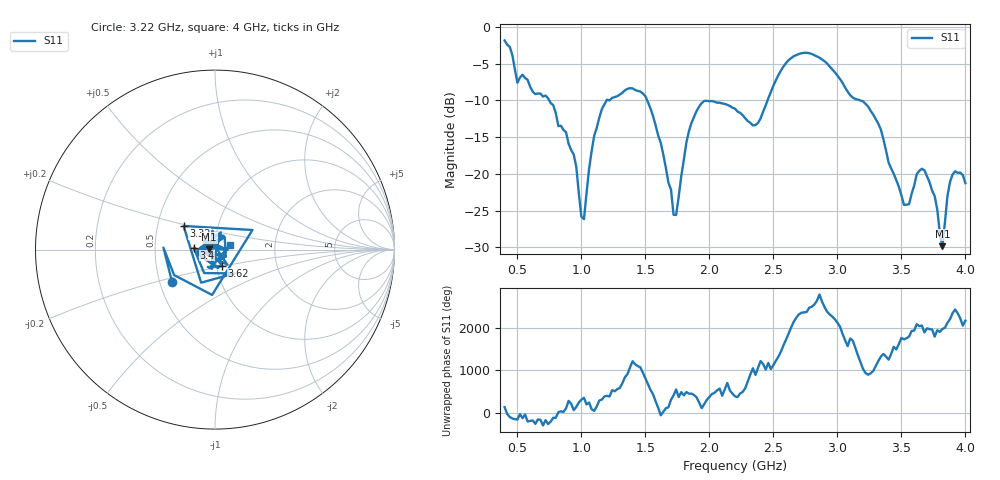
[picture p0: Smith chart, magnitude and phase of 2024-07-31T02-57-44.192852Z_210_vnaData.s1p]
!Created with skrf (http://scikit-rf.org).
# Hz S RI R 50.0
!freq ReS11 ImS11
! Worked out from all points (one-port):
!   181 points, 400 MHz to 4 GHz, reference 50 ohm
!   lowest |S11| = -29.8 dB at 3.82 GHz (marker M1), VSWR 1.07, Z = 46.9 + j0.085 ohm
!   |S11| at or under -10 dB: 748.8 MHz to 1.197 GHz (447.9 MHz wide, 46 % of centre); 1.514 GHz to 2.454 GHz (940 MHz wide, 47.4 % of centre); 3.179 GHz to end of sweep (the widest 3 of 4)
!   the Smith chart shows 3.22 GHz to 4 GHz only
!   S11 on the Smith chart (normalised r, x): 3.22 GHz: 0.58, -0.23; 3.32 GHz: 0.68, +0.19; 3.4 GHz: 0.79, +0.02; 3.62 GHz: 1.06, -0.20; 4 GHz: 1.18, +0.06
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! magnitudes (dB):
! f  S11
! 400 MHz  -1.8
! 500 MHz  -7.6
! 860 MHz  -14.0
! 940 MHz  -17.4
! 1.02 GHz  -26.2
! 1.08 GHz  -16.9
! 1.14 GHz  -12.3
! 1.3 GHz  -9.2
! 1.5 GHz  -9.4
! 1.62 GHz  -15.8
! 1.72 GHz  -25.6
! 1.76 GHz  -23.1
! 1.84 GHz  -14.2
! 1.92 GHz  -10.8
! 2.2 GHz  -11.1
! 2.38 GHz  -13.1
! 2.66 GHz  -4.0
! 2.88 GHz  -4.4
! 3.1 GHz  -9.3
! 3.22 GHz  -10.5
! 3.32 GHz  -13.2
! 3.4 GHz  -18.5
! 3.56 GHz  -24.1
! 3.62 GHz  -20.0
! 3.76 GHz  -23.0
! 3.82 GHz  -29.8
! 3.9 GHz  -20.1
! 4 GHz  -21.3
